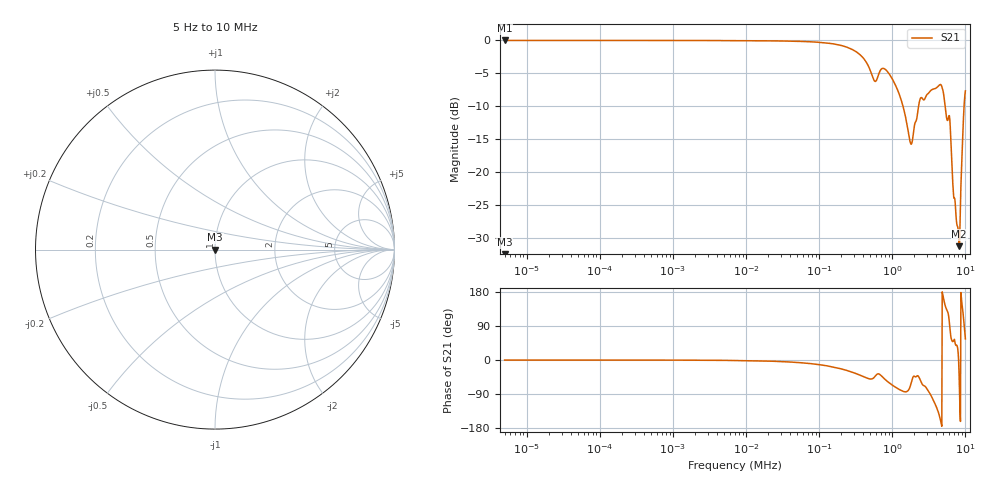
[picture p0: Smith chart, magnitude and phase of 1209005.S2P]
!Agilent Technologies,E5061B,MY49204007,A.02.12
!Date: Fri Sep 12 10:30:20 2025
!Data & Calibration Information:
!Freq	S11:SOLT2(OFF)	S21:SOLT2(OFF)	S12:SOLT2(OFF)	S22:SOLT2(OFF)
# Hz S dB R 50
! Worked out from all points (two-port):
!   1041 points, 5 Hz to 10 MHz, reference 50 ohm
!   highest |S21| = -0.04 dB at 5 Hz (marker M1); lowest = -31.2 dB at 8.198 MHz (marker M2)
!   |S21| within 3 dB of the highest: start of sweep to 423.5 kHz
!   lowest |S11| = - dB at 5 Hz (marker M3), VSWR 1.00, Z = 50 + j0 ohm
!   |S11| at or under -10 dB: start of sweep to end of sweep
!   S12 and S22 are empty: the file has one direction only
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5  -200.00 0.0  -0.04 -0.2  -200.00 0.0  -200.00 0.0
56.522  -200.00 0.0  -0.04 -0.2  -200.00 0.0  -200.00 0.0
632.897  -200.00 0.0  -0.04 -0.3  -200.00 0.0  -200.00 0.0
7154.49  -200.00 0.0  -0.06 -1.2  -200.00 0.0  -200.00 0.0
80111.67  -200.00 0.0  -0.25 -10.0  -200.00 0.0  -200.00 0.0
189469.2  -200.00 0.0  -0.74 -22.2  -200.00 0.0  -200.00 0.0
355428.4  -200.00 0.0  -2.12 -39.4  -200.00 0.0  -200.00 0.0
522886.2  -200.00 0.0  -5.15 -50.1  -200.00 0.0  -200.00 0.0
620660.7  -200.00 0.0  -5.84 -37.4  -200.00 0.0  -200.00 0.0
893075.1  -200.00 0.0  -5.00 -59.2  -200.00 0.0  -200.00 0.0
1369167  -200.00 0.0  -9.60 -81.8  -200.00 0.0  -200.00 0.0
1791890  -200.00 0.0  -15.71 -64.3  -200.00 0.0  -200.00 0.0
2371323  -200.00 0.0  -9.12 -49.5  -200.00 0.0  -200.00 0.0
3499982  -200.00 0.0  -7.48 -99.2  -200.00 0.0  -200.00 0.0
4125599  -200.00 0.0  -7.11 -129.8  -200.00 0.0  -200.00 0.0
4694707  -200.00 0.0  -6.85 -169.6  -200.00 0.0  -200.00 0.0
5773548  -200.00 0.0  -12.07 125.2  -200.00 0.0  -200.00 0.0
6470803  -200.00 0.0  -17.78 53.4  -200.00 0.0  -200.00 0.0
7255215  -200.00 0.0  -24.68 43.1  -200.00 0.0  -200.00 0.0
8198050  -200.00 0.0  -31.21 -37.6  -200.00 0.0  -200.00 0.0
9159090  -200.00 0.0  -15.07 134.5  -200.00 0.0  -200.00 0.0
1e7  -200.00 0.0  -7.68 55.7  -200.00 0.0  -200.00 0.0
